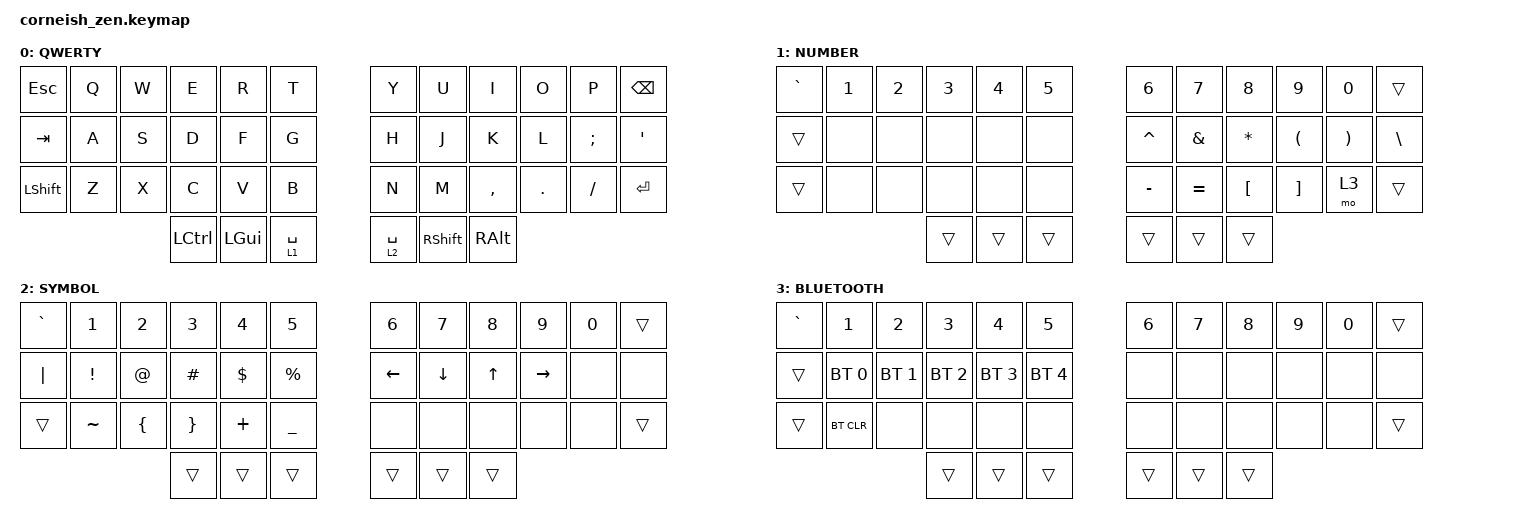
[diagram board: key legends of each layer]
#include <behaviors.dtsi>
#include <dt-bindings/zmk/keys.h>
#include <dt-bindings/zmk/bt.h>

/ {
  chosen {
    zmk,matrix_transform = &default_transform;
    //zmk,matrix_transform = &five_column_transform;
  };
};

/ {
        keymap {
                compatible = "zmk,keymap";

                default_layer {
                        label = "QWERTY";
// -----------------------------------------------------------------------------------------
// |  ESC |  Q  |  W  |  E   |  R  |     T     |   |     Y     |  U   |  I  |  O  |  P  | BKSP |
// |  TAB |  A  |  S  |  D   |  F  |     G     |   |     H     |  J   |  K  |  L  |  ;  |  '   |
// | SHFT |  Z  |  X  |  C   |  V  |     B     |   |     N     |  M   |  ,  |  .  |  /  | ENT  |
//                    | CTRL | GUI | LT(1,SPC) |   | LT(2,SPC) | SHFT | ALT |
                        bindings = <
   &kp ESC   &kp Q &kp W &kp E &kp R &kp T   &kp Y &kp U  &kp I     &kp O   &kp P    &kp BSPC
   &kp TAB   &kp A &kp S &kp D &kp F &kp G   &kp H &kp J  &kp K     &kp L   &kp SEMI &kp SQT
   &kp LSHFT &kp Z &kp X &kp C &kp V &kp B   &kp N &kp M  &kp COMMA &kp DOT &kp FSLH &kp ENTER
            &kp LCTRL &kp LGUI &lt 1 SPACE   &lt 2 SPACE &kp RSHFT &kp RALT
                        >;
                };

                lower_layer {
                        label = "NUMBER";
// -----------------------------------------------------------------------------------------
// |  `   |   1   |  2  |  3  |  4  |  5  |   |  6  |  7  |  8  |  9  |   0   |   |
// | TAB  |       |     |     |     |     |   |  ^  |  &  |  *  |  (  |   )   | \ |
// | SHFT |       |     |     |     |     |   |  -  |  =  |  [  |  ]  | MO(3) |   |
//                      |     |     |     |   |     |     |     |
                        bindings = <
   &kp GRAVE &kp N1       &kp N2       &kp N3       &kp N4       &kp N5         &kp N6    &kp N7    &kp N8   &kp N9   &kp N0   &trans
   &trans    &none        &none        &none        &none        &none          &kp CARET &kp AMPS  &kp STAR &kp LPAR &kp RPAR &kp BSLH
   &trans    &none        &none        &none        &none        &none          &kp MINUS &kp EQUAL &kp LBKT &kp RBKT &mo 3    &trans
                          	                             &trans &trans &trans   &trans &trans &trans
                        >;
                };

                raise_layer {
                        label = "SYMBOL";
// -----------------------------------------------------------------------------------------
// |  `   |  1    |   2  |  3   |  4   |   5   |   |  6   |  7   | 8  |   9   | 0 |   |
// | PIPE | EXCL  |  AT  | HASH | DLLR | PRCNT |   | LEFT | DOWN | UP | RIGHT |   |   |
// | SHFT | TILDE | LBRC | RBRC | PLUS | UNDER |   |      |      |    |       |   |   |
//                       |      |      |       |   |      |      |    |
                        bindings = <
   &kp GRAVE &kp N1    &kp N2   &kp N3   &kp N4   &kp N5      &kp N6   &kp N7   &kp N8 &kp N9    &kp N0 &trans
   &kp PIPE  &kp EXCL  &kp AT   &kp HASH &kp DLLR &kp PRCNT   &kp LEFT &kp DOWN &kp UP &kp RIGHT &none  &none
   &trans    &kp TILDE &kp LBRC &kp RBRC &kp PLUS &kp UNDER   &none    &none    &none  &none     &none  &trans
                          	           &trans &trans &trans   &trans &trans &trans
                        >;
                };

                bluetooth_layer {
                        label = "BLUETOOTH";
// -----------------------------------------------------------------------------------------
// |  `   |   1   |  2  |  3  |  4  |  5  |   |  6  |  7  |  8  |  9  |  0  |   |
// | TAB  |  BT1  | BT2 | BT3 | BT4 | BT5 |   |     |     |     |     |     |   |
// | SHFT | BTCLR |     |     |     |     |   |     |     |     |     |     |   |
//                      |     |     |     |   |     |     |     |
                        bindings = <
   &kp GRAVE &kp N1       &kp N2       &kp N3       &kp N4       &kp N5         &kp N6    &kp N7    &kp N8   &kp N9   &kp N0   &trans
   &trans    &bt BT_SEL 0 &bt BT_SEL 1 &bt BT_SEL 2 &bt BT_SEL 3 &bt BT_SEL 4   &none     &none     &none    &none    &none    &none
   &trans    &bt BT_CLR   &none        &none        &none        &none          &none     &none     &none    &none    &none    &trans
                          	                             &trans &trans &trans   &trans &trans &trans
                        >;
                };

        };
};
